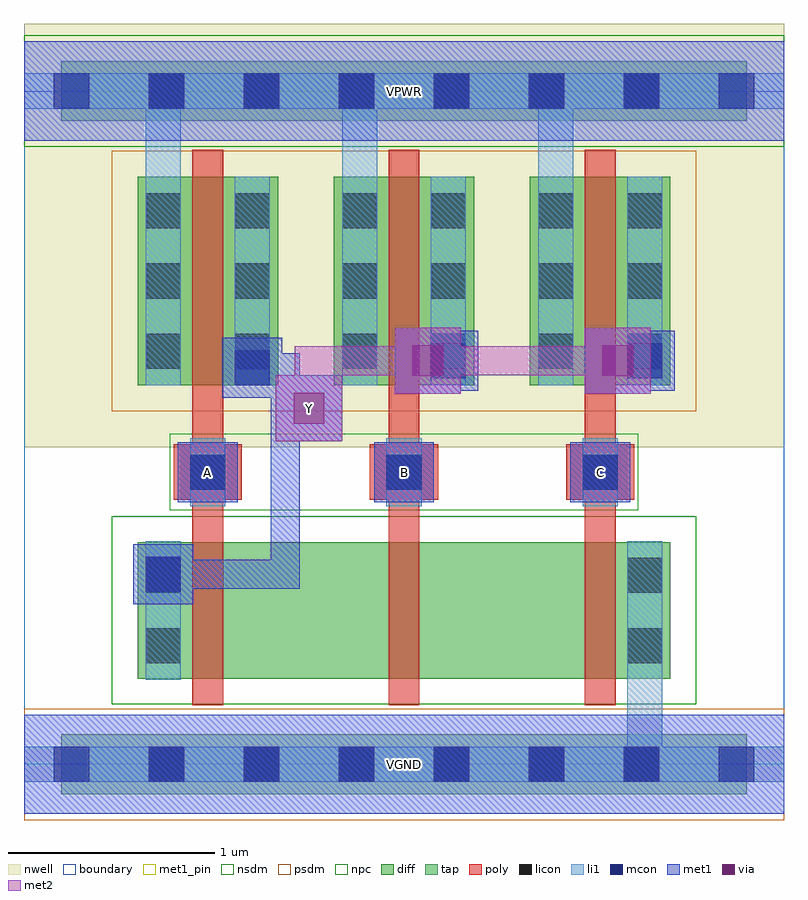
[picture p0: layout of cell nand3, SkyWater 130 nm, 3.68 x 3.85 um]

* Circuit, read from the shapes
.subckt nand3 A B C VGND VPWR Y
XM1 n1 A Y VGND sky130_fd_pr__nfet_01v8 w=0.66 l=0.15
XM2 n2 B n1 VGND sky130_fd_pr__nfet_01v8 w=0.66 l=0.15
XM3 VGND C n2 VGND sky130_fd_pr__nfet_01v8 w=0.66 l=0.15
XM4 Y A VPWR VPWR sky130_fd_pr__pfet_01v8 w=1.01 l=0.15
XM5 Y B VPWR VPWR sky130_fd_pr__pfet_01v8 w=1.01 l=0.15
XM6 Y C VPWR VPWR sky130_fd_pr__pfet_01v8 w=1.01 l=0.15
.ends

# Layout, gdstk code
import gdstk
lib = gdstk.Library(unit=1e-6, precision=1e-09)
def R(c, l, rs):  # rectangles x0, y0, x1, y1
    for r in rs: c.add(gdstk.rectangle(r[:2], r[2:], *l))
def A(c, l, x, y, w, h, nx, ny, dx, dy):  # array of equal rectangles
    R(c, l, [(x+i*dx, y+j*dy, x+i*dx+w, y+j*dy+h) for i in range(nx) for j in range(ny)])
nwell = (64, 20)
diff = (65, 20)
tap = (65, 44)
poly = (66, 20)
licon = (66, 44)
li1 = (67, 20)
mcon = (67, 44)
met1_pin = (68, 16)
met1 = (68, 20)
via = (68, 44)
met2 = (69, 20)
nsdm = (93, 44)
psdm = (94, 20)
npc = (95, 20)
boundary = (235, 4)

nand3 = lib.new_cell('nand3')
R(nand3, nwell, [(0,1.535,3.68,3.585)])
A(nand3, diff, 0.55, 1.835, 0.68, 1.01, 3, 1, 0.95, 0)
R(nand3, diff, [(0.55,0.415,3.13,1.075)])
R(nand3, tap, [(0.18,-0.145,3.5,0.145), (0.18,3.115,3.5,3.405)])
A(nand3, poly, 0.815, 0.285, 0.15, 2.69, 3, 1, 0.95, 0)
A(nand3, poly, 0.725, 1.28, 0.33, 0.27, 3, 1, 0.95, 0)
A(nand3, licon, 0.605, -0.085, 0.17, 0.17, 6, 2, 0.46, 3.26)
A(nand3, licon, 0.805, 1.33, 0.17, 0.17, 3, 1, 0.95, 0)
A(nand3, licon, 0.59, 1.915, 0.17, 0.17, 1, 3, 0, 0.34)
A(nand3, licon, 1.02, 1.915, 0.17, 0.17, 1, 3, 0, 0.34)
A(nand3, licon, 1.54, 1.915, 0.17, 0.17, 1, 3, 0, 0.34)
A(nand3, licon, 1.97, 1.915, 0.17, 0.17, 1, 3, 0, 0.34)
A(nand3, licon, 2.49, 1.915, 0.17, 0.17, 1, 3, 0, 0.34)
A(nand3, licon, 2.92, 1.915, 0.17, 0.17, 1, 3, 0, 0.34)
R(nand3, licon, [(0.59,0.49,0.76,0.66), (2.92,0.49,3.09,0.66), (0.59,0.83,0.76,1), (2.92,0.83,3.09,1)])
A(nand3, li1, 0.805, 1.25, 0.17, 0.33, 3, 1, 0.95, 0)
A(nand3, li1, 0.59, 1.835, 0.17, 1.51, 3, 1, 0.95, 0)
R(nand3, li1, [(0,-0.085,3.68,0.085), (2.92,-0.085,3.09,1.08), (0.59,0.41,0.76,1.08), (2.92,0.41,3.09,1.08), (0.59,1.835,0.76,2.845), (1.02,1.835,1.19,2.845), (1.54,1.835,1.71,2.845), (1.97,1.835,2.14,2.845), (2.49,1.835,2.66,2.845), (2.92,1.835,3.09,2.845), (0,3.175,3.68,3.345)])
A(nand3, mcon, 0.145, -0.085, 0.17, 0.17, 8, 2, 0.46, 3.26)
A(nand3, mcon, 0.805, 1.33, 0.17, 0.17, 3, 1, 0.95, 0)
R(nand3, mcon, [(0.59,0.835,0.76,1.005), (1.02,1.835,1.19,2.005), (1.97,1.87,2.14,2.04), (2.92,1.87,3.09,2.04)])
A(nand3, met1_pin, 0.745, 1.27, 0.29, 0.29, 3, 1, 0.95, 0)
R(nand3, met1_pin, [(0,-0.24,3.68,0.24), (1.22,1.565,1.54,1.885), (0,3.02,3.68,3.5)])
A(nand3, met1, 0.745, 1.27, 0.29, 0.29, 3, 1, 0.95, 0)
R(nand3, met1, [(0,-0.24,3.68,0.24), (0.53,0.775,0.82,1.065), (0.605,0.85,0.875,0.99), (0.735,0.85,1.335,0.99), (1.195,0.85,1.335,1.795), (1.22,1.565,1.54,1.885), (1.195,1.655,1.335,1.99), (1.195,1.655,1.45,1.795), (0.96,1.775,1.25,2.065), (1.795,1.795,2.115,2.115), (2.715,1.795,3.035,2.115), (1.91,1.81,2.2,2.1), (2.86,1.81,3.15,2.1), (1.035,1.85,1.335,1.99), (1.885,1.885,2.125,2.025), (2.805,1.885,3.075,2.025), (0,3.02,3.68,3.5)])
R(nand3, via, [(1.305,1.65,1.455,1.8), (1.88,1.88,2.03,2.03), (2.8,1.88,2.95,2.03)])
R(nand3, met2, [(1.22,1.565,1.54,1.885), (1.31,1.655,1.45,2.025), (1.795,1.795,2.115,2.115), (2.715,1.795,3.035,2.115), (1.31,1.885,2.025,2.025), (1.885,1.885,2.945,2.025)])
R(nand3, nsdm, [(0.425,0.29,3.255,1.2), (0,2.99,3.68,3.53)])
R(nand3, psdm, [(0,-0.27,3.68,0.27), (0.425,1.71,3.255,2.97)])
R(nand3, npc, [(0.705,1.23,2.975,1.6)])
R(nand3, boundary, [(0,0,3.68,3.26)])
nand3.add(gdstk.Label('A', (0.89,1.415), layer=68, texttype=5))
nand3.add(gdstk.Label('B', (1.84,1.415), layer=68, texttype=5))
nand3.add(gdstk.Label('C', (2.79,1.415), layer=68, texttype=5))
nand3.add(gdstk.Label('Y', (1.38,1.725), layer=68, texttype=5))
nand3.add(gdstk.Label('VPWR', (1.84,3.26), layer=68, texttype=5))
nand3.add(gdstk.Label('VGND', (1.84,0), layer=68, texttype=5))
nand3.add(gdstk.Label('A', (0.89,1.415), layer=68, texttype=16))
nand3.add(gdstk.Label('B', (1.84,1.415), layer=68, texttype=16))
nand3.add(gdstk.Label('C', (2.79,1.415), layer=68, texttype=16))
nand3.add(gdstk.Label('Y', (1.38,1.725), layer=68, texttype=16))
nand3.add(gdstk.Label('VPWR', (1.84,3.26), layer=68, texttype=16))
nand3.add(gdstk.Label('VGND', (1.84,0), layer=68, texttype=16))

lib.write_gds('nand3.gds')
